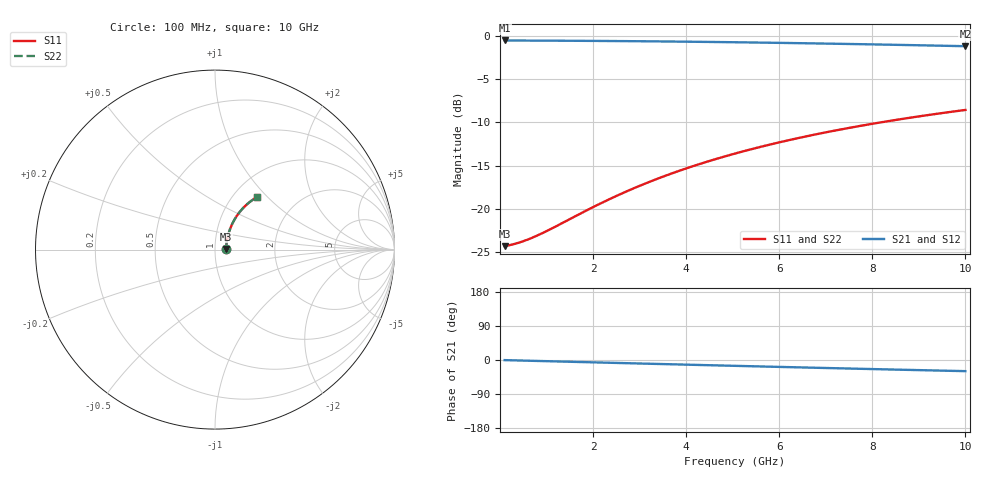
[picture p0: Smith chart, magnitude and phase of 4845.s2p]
# Hz S RI R 50.00
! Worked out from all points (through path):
!   100 points, 100 MHz to 10 GHz, reference 50 ohm
!   highest |S21| = -0.55 dB at 100 MHz (marker M1); lowest = -1.2 dB at 10 GHz (marker M2)
!   group delay of S21, straight-line fit = 8.2 ps
!   lowest |S11| = -24.3 dB at 100 MHz (marker M3), VSWR 1.13, Z = 56.5 + j0.423 ohm
!   |S11| at or under -10 dB: start of sweep to 8.184 GHz
!   |S22| runs from -24.3 to -8.6 dB; largest |S21 - S12| = 0
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1e8  0.0609 0.00373  0.9391 -0.00508  0.9391 -0.00508  0.0609 0.00373
3e8  0.0617 0.0112  0.9383 -0.0152  0.9383 -0.0152  0.0617 0.0112
4e8  0.0621 0.0149  0.9379 -0.0203  0.9379 -0.0203  0.0621 0.0149
5e8  0.0624 0.0186  0.9375 -0.0253  0.9375 -0.0253  0.0624 0.0186
7e8  0.0632 0.026  0.9367 -0.0354  0.9367 -0.0354  0.0632 0.026
9e8  0.0641 0.0334  0.9358 -0.0455  0.9358 -0.0455  0.0641 0.0334
1.1e9  0.0652 0.0407  0.9347 -0.0556  0.9347 -0.0556  0.0652 0.0407
1.8e9  0.0698 0.0662  0.9299 -0.0905  0.9299 -0.0905  0.0698 0.0662
2.2e9  0.0733 0.0806  0.9263 -0.1102  0.9263 -0.1102  0.0733 0.0806
2.6e9  0.0773 0.0947  0.9221 -0.1298  0.9221 -0.1298  0.0773 0.0947
3e9  0.0818 0.1086  0.9173 -0.1491  0.9173 -0.1491  0.0818 0.1086
3.4e9  0.0869 0.1223  0.9119 -0.1682  0.9119 -0.1682  0.0869 0.1223
3.8e9  0.0926 0.1357  0.906 -0.1869  0.906 -0.1869  0.0926 0.1357
4.2e9  0.0988 0.1487  0.8995 -0.2054  0.8995 -0.2054  0.0988 0.1487
4.6e9  0.1055 0.1614  0.8925 -0.2235  0.8925 -0.2235  0.1055 0.1614
5.1e9  0.1145 0.1768  0.883 -0.2457  0.883 -0.2457  0.1145 0.1768
5.9e9  0.1304 0.2002  0.8663 -0.2799  0.8663 -0.2799  0.1304 0.2002
6.7e9  0.1479 0.2218  0.8478 -0.3124  0.8478 -0.3124  0.1479 0.2218
7.5e9  0.1668 0.2417  0.8278 -0.3432  0.8278 -0.3432  0.1668 0.2417
8.4e9  0.1895 0.2618  0.8038 -0.3756  0.8038 -0.3756  0.1895 0.2618
9.2e9  0.2106 0.2777  0.7812 -0.4024  0.7812 -0.4024  0.2106 0.2777
1e10  0.2325 0.2916  0.7579 -0.4273  0.7579 -0.4273  0.2325 0.2916
